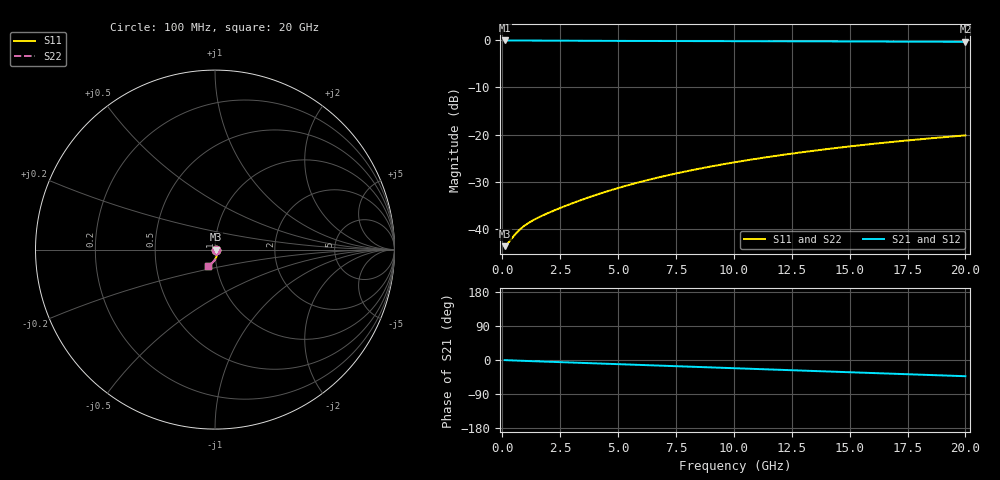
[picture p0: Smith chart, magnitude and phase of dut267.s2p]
! Touchstone file exported from HFSS 2026.1.0
!  File:  C:/ffzhzh/LocalFiles/Ansys_Project_Files/temp_train_TMRDL_267_1782985107_40604.aedt
!  Generated:  05:39:57 PM Jul  2, 2026
!  Design:  TMRDL
!  Project:  temp_train_TMRDL_267_1782985107_40604
! Variables:
!  h_bsmrdl = 2um
!  h_ox = 20um
!  h_rdl = 5um
!  h_sub = 80um
!  h_tmrdl = 2.09um
!  h_tsv = 80um
!  h_via = 3um
!  l_bsmrdl = 300um
!  l_sub = 1148.08um
!  l_tmrdl = 748.08um
!  m_sub = 200um
!  pitch = 21.79um
!  r_tsv = 6um
!  s_tmrdl = 10um
!  w_bsmrdl = 18um
!  w_sub = 500um
!  w_tmrdl = 20.03um
!  x_tsv_center1 = 758.095um
!  x_tsv_center2 = 1076.095um
!  x_tsv_center3 = 1844.205um
!  x_tsv_center4 = 2162.205um
!  x_tsv_center5 = 2930.315um
!  x_tsv_center6 = 3248.315um
# GHz S MA R 50.000000
! Terminal data exported
! Port[1] = TM_RDL1_1_T1
! Port[2] = TM_RDL1_1_T2
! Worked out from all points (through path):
!   200 points, 100 MHz to 20 GHz, reference 50 ohm
!   highest |S21| = -0.06 dB at 100 MHz (marker M1); lowest = -0.3 dB at 20 GHz (marker M2)
!   group delay of S21, straight-line fit = 5.91 ps
!   lowest |S11| = -43.5 dB at 100 MHz (marker M3), VSWR 1.01, Z = 50.7 + j0.0437 ohm
!   |S11| at or under -10 dB: start of sweep to end of sweep
!   |S22| runs from -43.5 to -20.1 dB; largest |S21 - S12| = 4.2e-15
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0.1  0.006654 3.7  0.9934 -0.3  0.9934 -0.3  0.006654 3.7
! Gamma 0 0 0 0
! Port Impedance 50 0 50 0
0.2  0.006972 6.6  0.9931 -0.5  0.9931 -0.5  0.006972 6.6
0.5  0.008554 7.7  0.9915 -1.3  0.9915 -1.3  0.008555 7.7
0.7  0.009672 4.2  0.9904 -1.8  0.9904 -1.8  0.009672 4.2
0.9  0.01067 -0.6  0.9893 -2.2  0.9893 -2.2  0.01068 -0.6
1.2  0.01198 -8.2  0.9881 -2.9  0.9881 -2.9  0.01198 -8.2
1.6  0.01351 -17.7  0.9869 -3.7  0.9869 -3.7  0.01351 -17.7
2.1  0.01535 -27.9  0.9858 -4.8  0.9858 -4.8  0.01535 -27.9
2.8  0.01801 -39.3  0.9848 -6.3  0.9848 -6.3  0.01802 -39.3
3.5  0.02085 -48.3  0.984 -7.8  0.984 -7.8  0.02086 -48.2
4.3  0.02427 -56.4  0.9831 -9.5  0.9831 -9.5  0.02428 -56.3
5.1  0.02783 -62.9  0.9824 -11.2  0.9824 -11.2  0.02784 -62.9
5.9  0.03149 -68.3  0.9816 -12.9  0.9816 -12.9  0.03151 -68.2
6.8  0.0357 -73.4  0.9806 -14.8  0.9806 -14.8  0.03572 -73.4
8.4  0.04333 -80.8  0.9788 -18.3  0.9788 -18.3  0.04336 -80.8
10.1  0.05157 -87.3  0.9767 -21.9  0.9767 -21.9  0.05161 -87.2
11.7  0.05938 -92.6  0.9745 -25.3  0.9745 -25.3  0.05942 -92.5
13.4  0.06766 -97.6  0.9719 -28.9  0.9719 -28.9  0.06771 -97.5
15  0.07539 -102.0  0.9694 -32.3  0.9694 -32.3  0.07546 -101.9
16.7  0.08348 -106.5  0.9666 -35.9  0.9666 -35.9  0.08355 -106.4
18.3  0.09091 -110.6  0.9639 -39.2  0.9639 -39.2  0.09099 -110.4
20  0.09853 -114.7  0.9609 -42.8  0.9609 -42.8  0.09862 -114.6
